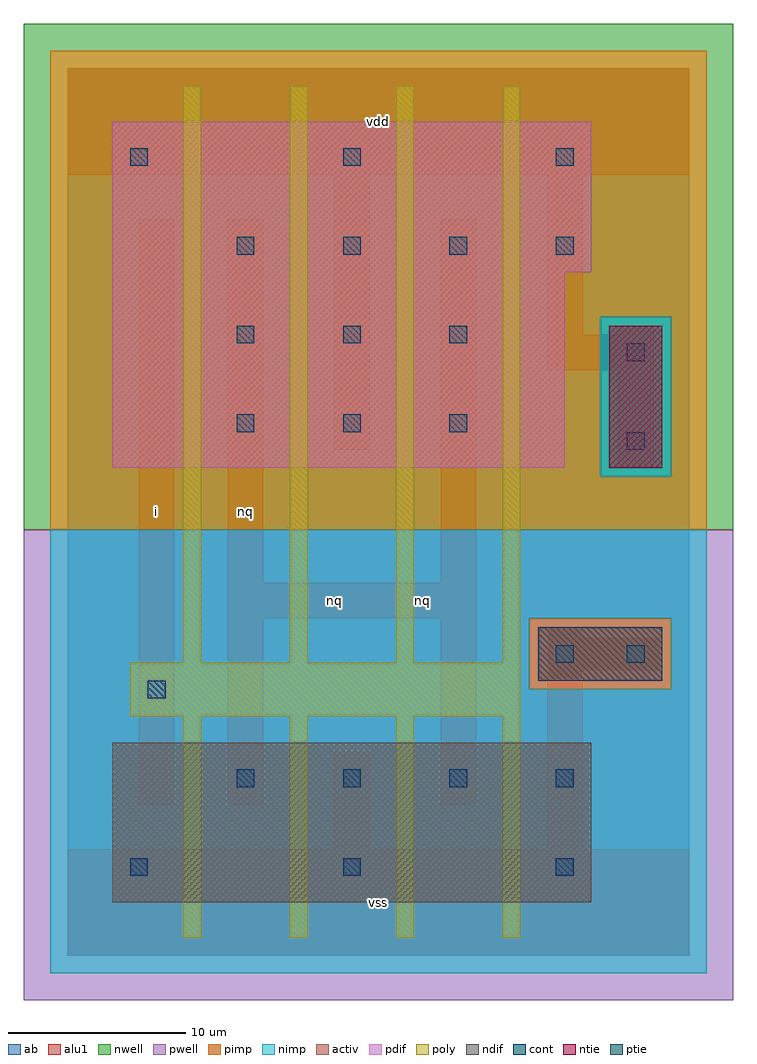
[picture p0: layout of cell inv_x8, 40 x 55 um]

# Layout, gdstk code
import gdstk
lib = gdstk.Library(unit=1e-6, precision=1e-09)
def R(c, l, rs):  # rectangles x0, y0, x1, y1
    for r in rs: c.add(gdstk.rectangle(r[:2], r[2:], *l))
def A(c, l, x, y, w, h, nx, ny, dx, dy):  # array of equal rectangles
    R(c, l, [(x+i*dx, y+j*dy, x+i*dx+w, y+j*dy+h) for i in range(nx) for j in range(ny)])
ndif = (3, 0)
pdif = (4, 0)
ntie = (5, 0)
ptie = (6, 0)
cont = (25, 0)
pwell = (41, 0)
nwell = (42, 0)
activ = (43, 0)
pimp = (44, 0)
nimp = (45, 0)
poly = (46, 0)
alu1 = (49, 0)
ab = (63, 0)

inv_x8 = lib.new_cell('inv_x8')
R(inv_x8, ndif, [(2.5,3,29.5,12)])
R(inv_x8, pdif, [(2.5,27.5,28,38.5), (2.5,38.5,29.5,47)])
R(inv_x8, ntie, [(30.5,27.5,33.5,35.5)])
R(inv_x8, ptie, [(26.5,15.5,33.5,18.5)])
A(inv_x8, cont, 3.5, 4.5, 1, 1, 3, 2, 12, 40)
A(inv_x8, cont, 9.5, 9.5, 1, 1, 4, 2, 6, 30)
A(inv_x8, cont, 9.5, 29.5, 1, 1, 3, 2, 6, 5)
R(inv_x8, cont, [(4.5,14.5,5.5,15.5), (27.5,16.5,28.5,17.5), (31.5,16.5,32.5,17.5), (31.5,28.5,32.5,29.5), (31.5,33.5,32.5,34.5)])
R(inv_x8, pwell, [(-2.5,-2.5,37.5,24)])
R(inv_x8, nwell, [(-2.5,24,37.5,52.5)])
R(inv_x8, activ, [(2.5,3,29.5,12), (26.5,15.5,33.5,18.5), (2.5,27.5,28,38.5), (30.5,27.5,33.5,35.5), (2.5,38.5,29.5,47)])
R(inv_x8, pimp, [(26,15,34,19), (-1,24,36,27), (-1,27,30,36), (34,27,36,36), (-1,36,36,51)])
R(inv_x8, nimp, [(-1,-1,36,15), (-1,15,26,19), (34,15,36,19), (-1,19,36,24), (30,27,34,36)])
A(inv_x8, poly, 6.5, 1, 1, 12.5, 4, 1, 6, 0)
A(inv_x8, poly, 6.5, 16.5, 1, 32.5, 4, 1, 6, 0)
R(inv_x8, poly, [(3.5,13.5,25.5,16.5)])
R(inv_x8, alu1, [(0,0,35,6), (0,0,35,6), (15,6,17,11.5), (15,6,17,11.5), (27,6,29,16), (27,6,29,16), (4,8.5,6,41.5), (4,8.5,6,41.5), (9,8.5,11,19), (9,8.5,11,19), (21,8.5,23,19), (21,8.5,23,19), (27,16,33.5,18), (27,16,33.5,18), (27,18,29,18.5), (27,18,29,18.5), (9,19,23,21), (9,19,23,21), (9,21,11,41.5), (9,21,11,41.5), (21,21,23,41.5), (21,21,23,41.5), (31,27.5,33,33), (31,27.5,33,33), (15,28.5,17,44), (15,28.5,17,44), (27,33,33,35), (27,33,33,35), (27,35,29,44), (27,35,29,44), (31,35,33,35.5), (31,35,33,35.5), (0,44,35,50), (0,44,35,50)])
R(inv_x8, ab, [(0,0,35,50)])
inv_x8.add(gdstk.Label('i', (5,25), layer=49, texttype=0))
inv_x8.add(gdstk.Label('nq', (15,20), layer=49, texttype=0))
inv_x8.add(gdstk.Label('nq', (10,25), layer=49, texttype=0))
inv_x8.add(gdstk.Label('vss', (17.5,3), layer=49, texttype=0))
inv_x8.add(gdstk.Label('nq', (20,20), layer=49, texttype=0))
inv_x8.add(gdstk.Label('vdd', (17.5,47), layer=49, texttype=0))

lib.write_gds('inv_x8.gds')
